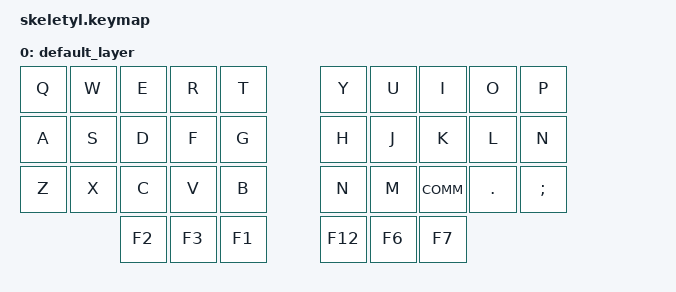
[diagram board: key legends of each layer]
#include <behaviors.dtsi>
#include <dt-bindings/zmk/keys.h>

/ {
    keymap {
        compatible = "zmk,keymap";
        default_layer {
            /*  Matrix 4x10:
             *  C0  C1  C2  C3  C4   C5  C6  C7  C8  C9
             *   q   w   e   r   t   y   u   i   o   p    R0
             *   a   s   d   f   g   h   j   k   l   ñ    R1
             *   z   x   c   v   b   n   m   ,   .   ;    R2
             *          C2  C3  C0         C9  C6  C7      R3 (thumbs)
             */
            bindings = <
                &kp Q &kp W &kp E &kp R &kp T   &kp Y &kp U &kp I &kp O &kp P
                &kp A &kp S &kp D &kp F &kp G   &kp H &kp J &kp K &kp L &kp N
                &kp Z &kp X &kp C &kp V &kp B   &kp N &kp M &kp COMM &kp DOT &kp SCLN
                          &kp F2 &kp F3 &kp F1   &kp F12 &kp F6 &kp F7
            >;
        };
    };
};
